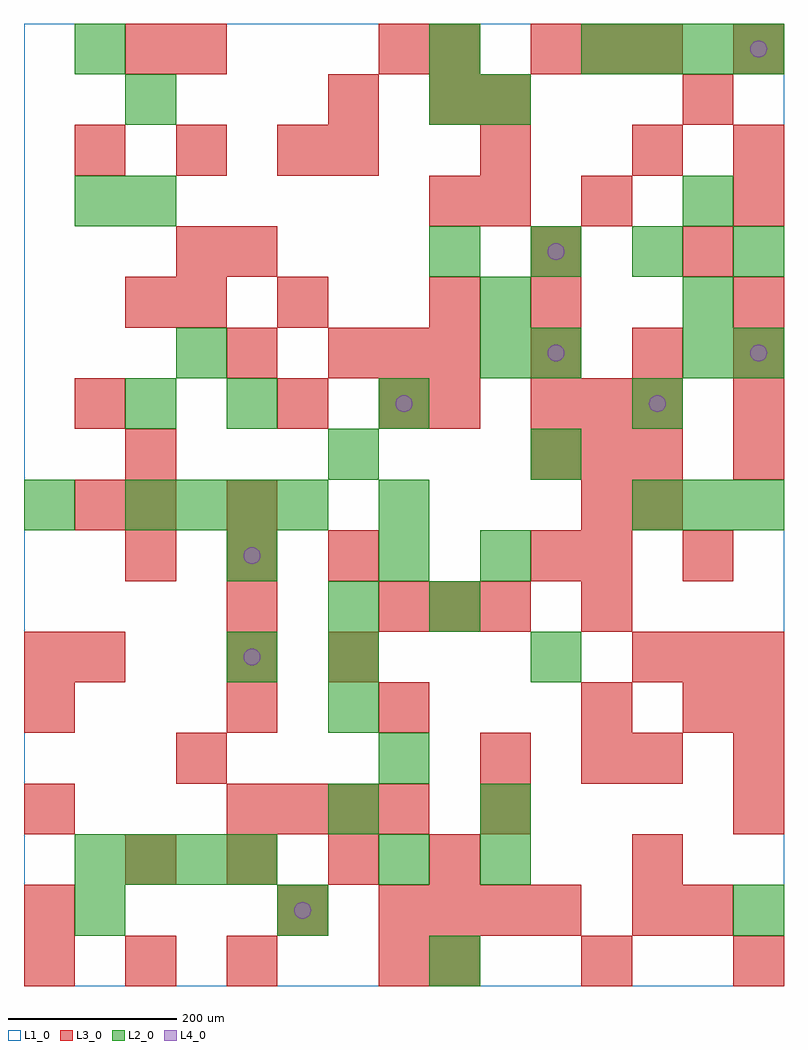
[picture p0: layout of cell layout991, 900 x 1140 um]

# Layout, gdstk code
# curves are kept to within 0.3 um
import gdstk
lib = gdstk.Library(unit=1e-6, precision=1e-09)
def R(c, l, rs):  # rectangles x0, y0, x1, y1
    for r in rs: c.add(gdstk.rectangle(r[:2], r[2:], *l))
def A(c, l, x, y, w, h, nx, ny, dx, dy):  # array of equal rectangles
    R(c, l, [(x+i*dx, y+j*dy, x+i*dx+w, y+j*dy+h) for i in range(nx) for j in range(ny)])
def P(c, l, *ps):  # polygons
    for p in ps: c.add(gdstk.Polygon(p, *l))
L1_0 = (1, 0)
L2_0 = (2, 0)
L3_0 = (3, 0)
L4_0 = (4, 0)

layout991 = lib.new_cell('layout991')
R(layout991, L1_0, [(0,0,900,1140)])
A(layout991, L2_0, 60, 120, 60, 60, 4, 1, 60, 0)
A(layout991, L2_0, 360, 300, 60, 60, 1, 3, 0, 60)
A(layout991, L2_0, 120, 540, 60, 60, 4, 1, 60, 0)
A(layout991, L2_0, 720, 540, 60, 60, 3, 1, 60, 0)
A(layout991, L2_0, 480, 840, 60, 60, 4, 1, 120, 0)
A(layout991, L2_0, 660, 1080, 60, 60, 4, 1, 60, 0)
R(layout991, L2_0, [(480,0,540,60), (60,60,120,120), (300,60,360,120), (840,60,900,120), (420,120,480,180), (540,120,600,180), (360,180,420,240), (540,180,600,240), (420,240,480,300), (240,360,300,420), (600,360,660,420), (480,420,540,480), (240,480,300,540), (420,480,480,540), (540,480,600,540), (0,540,60,600), (420,540,480,600), (360,600,420,660), (600,600,660,660), (120,660,180,720), (240,660,300,720), (420,660,480,720), (720,660,780,720), (180,720,240,780), (540,720,600,780), (600,720,660,780), (780,720,840,780), (840,720,900,780), (540,780,600,840), (780,780,840,840), (60,900,120,960), (120,900,180,960), (780,900,840,960), (120,1020,180,1080), (480,1020,540,1080), (540,1020,600,1080), (60,1080,120,1140), (480,1080,540,1140)])
A(layout991, L3_0, 0, 0, 60, 60, 3, 1, 120, 0)
A(layout991, L3_0, 480, 0, 60, 60, 3, 1, 180, 0)
A(layout991, L3_0, 0, 60, 60, 60, 1, 3, 0, 120)
A(layout991, L3_0, 420, 60, 60, 60, 4, 1, 60, 0)
A(layout991, L3_0, 120, 120, 60, 60, 4, 1, 120, 0)
A(layout991, L3_0, 240, 180, 60, 60, 4, 1, 60, 0)
A(layout991, L3_0, 840, 180, 60, 60, 1, 3, 0, 60)
A(layout991, L3_0, 240, 300, 60, 60, 1, 3, 0, 60)
A(layout991, L3_0, 720, 360, 60, 60, 3, 1, 60, 0)
A(layout991, L3_0, 420, 420, 60, 60, 3, 1, 60, 0)
A(layout991, L3_0, 660, 420, 60, 60, 1, 3, 0, 60)
A(layout991, L3_0, 120, 480, 60, 60, 3, 1, 120, 0)
A(layout991, L3_0, 600, 600, 60, 60, 3, 2, 60, 60)
A(layout991, L3_0, 480, 660, 60, 60, 1, 4, 0, 120)
A(layout991, L3_0, 840, 660, 60, 60, 1, 3, 0, 120)
A(layout991, L3_0, 360, 720, 60, 60, 3, 1, 60, 0)
A(layout991, L3_0, 600, 720, 60, 60, 3, 1, 120, 0)
A(layout991, L3_0, 60, 960, 60, 60, 3, 1, 120, 0)
A(layout991, L3_0, 360, 960, 60, 60, 3, 1, 180, 0)
A(layout991, L3_0, 600, 1080, 60, 60, 3, 1, 60, 0)
R(layout991, L3_0, [(420,0,480,60), (300,60,360,120), (720,60,780,120), (780,60,840,120), (720,120,780,180), (540,180,600,240), (180,240,240,300), (540,240,600,300), (660,240,720,300), (720,240,780,300), (420,300,480,360), (660,300,720,360), (780,300,840,360), (0,360,60,420), (60,360,120,420), (360,360,420,420), (600,480,660,540), (780,480,840,540), (60,540,120,600), (120,540,180,600), (240,540,300,600), (720,540,780,600), (120,600,180,660), (840,600,900,660), (60,660,120,720), (300,660,360,720), (420,660,480,720), (240,720,300,780), (120,780,180,840), (180,780,240,840), (300,780,360,840), (600,780,660,840), (180,840,240,900), (240,840,300,900), (600,840,660,900), (780,840,840,900), (540,900,600,960), (660,900,720,960), (840,960,900,1020), (360,1020,420,1080), (540,1020,600,1080), (780,1020,840,1080), (120,1080,180,1140), (180,1080,240,1140), (420,1080,480,1140), (480,1080,540,1140), (840,1080,900,1140)])
P(layout991, L4_0, [(280,390),(279.239,393.827),(277.071,397.071),(273.827,399.239),(270,400),(266.173,399.239),(262.929,397.071),(260.761,393.827),(260,390),(260.761,386.173),(262.929,382.929),(266.173,380.761),(270,380),(273.827,380.761),(277.071,382.929),(279.239,386.173)],
  [(280,510),(279.239,513.827),(277.071,517.071),(273.827,519.239),(270,520),(266.173,519.239),(262.929,517.071),(260.761,513.827),(260,510),(260.761,506.173),(262.929,502.929),(266.173,500.761),(270,500),(273.827,500.761),(277.071,502.929),(279.239,506.173)],
  [(340,90),(339.239,93.827),(337.071,97.071),(333.827,99.239),(330,100),(326.173,99.239),(322.929,97.071),(320.761,93.827),(320,90),(320.761,86.173),(322.929,82.929),(326.173,80.761),(330,80),(333.827,80.761),(337.071,82.929),(339.239,86.173)],
  [(460,690),(459.239,693.827),(457.071,697.071),(453.827,699.239),(450,700),(446.173,699.239),(442.929,697.071),(440.761,693.827),(440,690),(440.761,686.173),(442.929,682.929),(446.173,680.761),(450,680),(453.827,680.761),(457.071,682.929),(459.239,686.173)],
  [(640,750),(639.239,753.827),(637.071,757.071),(633.827,759.239),(630,760),(626.173,759.239),(622.929,757.071),(620.761,753.827),(620,750),(620.761,746.173),(622.929,742.929),(626.173,740.761),(630,740),(633.827,740.761),(637.071,742.929),(639.239,746.173)],
  [(640,870),(639.239,873.827),(637.071,877.071),(633.827,879.239),(630,880),(626.173,879.239),(622.929,877.071),(620.761,873.827),(620,870),(620.761,866.173),(622.929,862.929),(626.173,860.761),(630,860),(633.827,860.761),(637.071,862.929),(639.239,866.173)],
  [(760,690),(759.239,693.827),(757.071,697.071),(753.827,699.239),(750,700),(746.173,699.239),(742.929,697.071),(740.761,693.827),(740,690),(740.761,686.173),(742.929,682.929),(746.173,680.761),(750,680),(753.827,680.761),(757.071,682.929),(759.239,686.173)],
  [(880,750),(879.239,753.827),(877.071,757.071),(873.827,759.239),(870,760),(866.173,759.239),(862.929,757.071),(860.761,753.827),(860,750),(860.761,746.173),(862.929,742.929),(866.173,740.761),(870,740),(873.827,740.761),(877.071,742.929),(879.239,746.173)],
  [(880,1110),(879.239,1113.827),(877.071,1117.071),(873.827,1119.239),(870,1120),(866.173,1119.239),(862.929,1117.071),(860.761,1113.827),(860,1110),(860.761,1106.173),(862.929,1102.929),(866.173,1100.761),(870,1100),(873.827,1100.761),(877.071,1102.929),(879.239,1106.173)])

lib.write_gds('layout991.gds')
